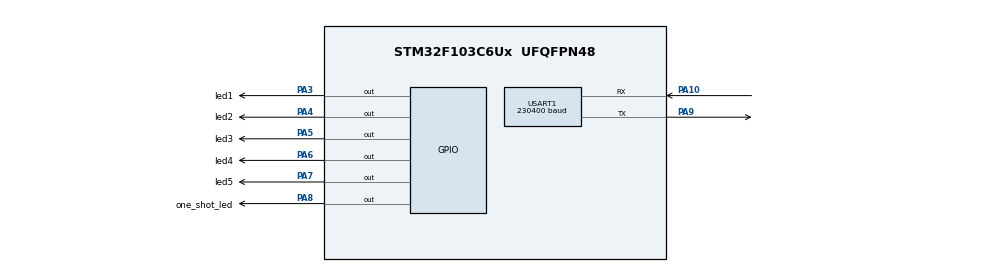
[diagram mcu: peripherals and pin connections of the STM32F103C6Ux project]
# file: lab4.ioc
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Mcu.Family=STM32F1
Mcu.Name=STM32F103C6Ux
Mcu.Package=UFQFPN48
NVIC.PriorityGroup=NVIC_PRIORITYGROUP_4
NVIC.TIM2_IRQn=true\:0\:0\:false\:false\:true\:true\:true
PA10.Mode=Asynchronous
PA10.Signal=USART1_RX
PA3.GPIO_Label=led1
PA3.Signal=GPIO_Output
PA4.GPIO_Label=led2
PA4.Signal=GPIO_Output
PA5.GPIO_Label=led3
PA5.Signal=GPIO_Output
PA6.GPIO_Label=led4
PA6.Signal=GPIO_Output
PA7.GPIO_Label=led5
PA7.Signal=GPIO_Output
PA8.GPIO_Label=one_shot_led
PA8.Signal=GPIO_Output
PA9.Mode=Asynchronous
PA9.Signal=USART1_TX
ProjectManager.HeapSize=0x200
ProjectManager.StackSize=0x400
ProjectManager.TargetToolchain=STM32CubeIDE
RCC.APB1Freq_Value=8000000
RCC.APB2Freq_Value=8000000
TIM2.Period=9
TIM2.Prescaler=7999
USART1.BaudRate=230400
USART1.VirtualMode=VM_ASYNC
VP_SYS_VS_ND.Mode=No_Debug
VP_TIM2_VS_ClockSourceINT.Mode=Internal
board=custom

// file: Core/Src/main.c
/* USER CODE BEGIN Header */
/**
  ******************************************************************************
  * @file           : main.c
  * @brief          : Main program body
  ******************************************************************************
  * @attention
  *
  * <h2><center>&copy; Copyright (c) 2026 STMicroelectronics.
  * All rights reserved.</center></h2>
  *
  * This software component is licensed by ST under BSD 3-Clause license,
  * the "License"; You may not use this file except in compliance with the
  * License. You may obtain a copy of the License at:
  *                        opensource.org/licenses/BSD-3-Clause
  *
  ******************************************************************************
  */
/* USER CODE END Header */
#include "main.h"

/* USER CODE BEGIN Includes */
#include "sched.h"
#include <stdio.h>
/* USER CODE END Includes */

TIM_HandleTypeDef htim2;

UART_HandleTypeDef huart1;

void SystemClock_Config(void);
static void MX_TIM2_Init(void);
static void MX_GPIO_Init(void);
static void MX_USART1_UART_Init(void);

/* USER CODE BEGIN 0 */

//5 periodic LED tasks
void Task_1(){
    HAL_GPIO_TogglePin(GPIOA, led1_Pin);
    printf("Task 1 - Timestamp: %lu ms\r\n", (unsigned long)get_time());
}

void Task_2(){
    HAL_GPIO_TogglePin(GPIOA, led2_Pin);
    printf("Task 2 - Timestamp: %lu ms\r\n", (unsigned long)get_time());
}

void Task_3(){
    HAL_GPIO_TogglePin(GPIOA, led3_Pin);
    printf("Task 3 - Timestamp: %lu ms\r\n", (unsigned long)get_time());
}

void Task_4(){
    HAL_GPIO_TogglePin(GPIOA, led4_Pin);
    printf("Task 4 - Timestamp: %lu ms\r\n", (unsigned long)get_time());
}

void Task_5(){
    HAL_GPIO_TogglePin(GPIOA, led5_Pin);
    printf("Task 5 - Timestamp: %lu ms\r\n", (unsigned long)get_time());
}

void Task_OneShotLed(){
    HAL_GPIO_WritePin(GPIOA, one_shot_led_Pin, GPIO_PIN_RESET);
    printf("Task one shot - Timestamp: %lu ms\r\n", (unsigned long)get_time());
}

void SCH_Go_To_Sleep(){
    __WFI();//sleep until the next interrupt
}
/* USER CODE END 0 */

int main(void)
{

  /* MCU Configuration--------------------------------------------------------*/

  /* Reset of all peripherals, Initializes the Flash interface and the Systick. */
  HAL_Init();

  /* Configure the system clock */
  SystemClock_Config();

  /* Initialize all configured peripherals */
  MX_TIM2_Init();
  MX_GPIO_Init();
  MX_USART1_UART_Init();
  /* USER CODE BEGIN 2 */
  //LEDs are wired to +3.3V (active low): set all pins HIGH so every LED starts off
  HAL_GPIO_WritePin(GPIOA, one_shot_led_Pin, GPIO_PIN_SET);
  HAL_GPIO_WritePin(GPIOA, led1_Pin|led2_Pin|led3_Pin|led4_Pin|led5_Pin, GPIO_PIN_SET);//because it will toggle when the task is added, so toggle of reset is set (off)

  SCH_Init();

  SCH_Add_Task(Task_1, 50, 50);//1s period
  SCH_Add_Task(Task_2, 100, 100);//2
  SCH_Add_Task(Task_3, 150, 150);//3
  SCH_Add_Task(Task_4, 200, 200);//4
  SCH_Add_Task(Task_5, 250, 250);//5

  //one shot LED after 10s
  SCH_Add_Task(Task_OneShotLed, 1000, 0);

  HAL_TIM_Base_Start_IT(&htim2);//start the 10ms tick last
  /* USER CODE END 2 */

  /* Infinite loop */
  /* USER CODE BEGIN WHILE */
  while (1)
  {

	  SCH_Dispatch_Tasks();
	  __WFI();
    /* USER CODE END WHILE */

  }
}

void SystemClock_Config(void)
{
  RCC_OscInitTypeDef RCC_OscInitStruct = {0};
  RCC_ClkInitTypeDef RCC_ClkInitStruct = {0};

  /** Initializes the RCC Oscillators according to the specified parameters
  * in the RCC_OscInitTypeDef structure.
  */
  RCC_OscInitStruct.OscillatorType = RCC_OSCILLATORTYPE_HSI;
  RCC_OscInitStruct.HSIState = RCC_HSI_ON;
  RCC_OscInitStruct.HSICalibrationValue = RCC_HSICALIBRATION_DEFAULT;
  RCC_OscInitStruct.PLL.PLLState = RCC_PLL_NONE;
  if (HAL_RCC_OscConfig(&RCC_OscInitStruct) != HAL_OK)
  {
    Error_Handler();
  }
  /** Initializes the CPU, AHB and APB buses clocks
  */
  RCC_ClkInitStruct.ClockType = RCC_CLOCKTYPE_HCLK|RCC_CLOCKTYPE_SYSCLK
                              |RCC_CLOCKTYPE_PCLK1|RCC_CLOCKTYPE_PCLK2;
  RCC_ClkInitStruct.SYSCLKSource = RCC_SYSCLKSOURCE_HSI;
  RCC_ClkInitStruct.AHBCLKDivider = RCC_SYSCLK_DIV1;
  RCC_ClkInitStruct.APB1CLKDivider = RCC_HCLK_DIV1;
  RCC_ClkInitStruct.APB2CLKDivider = RCC_HCLK_DIV1;

  if (HAL_RCC_ClockConfig(&RCC_ClkInitStruct, FLASH_LATENCY_0) != HAL_OK)
  {
    Error_Handler();
  }
}

static void MX_TIM2_Init(void)
{

  TIM_ClockConfigTypeDef sClockSourceConfig = {0};
  TIM_MasterConfigTypeDef sMasterConfig = {0};

  htim2.Instance = TIM2;
  htim2.Init.Prescaler = 7999;
  htim2.Init.CounterMode = TIM_COUNTERMODE_UP;
  htim2.Init.Period = 9;
  htim2.Init.ClockDivision = TIM_CLOCKDIVISION_DIV1;
  htim2.Init.AutoReloadPreload = TIM_AUTORELOAD_PRELOAD_DISABLE;
  if (HAL_TIM_Base_Init(&htim2) != HAL_OK)
  {
    Error_Handler();
  }
  sClockSourceConfig.ClockSource = TIM_CLOCKSOURCE_INTERNAL;
  if (HAL_TIM_ConfigClockSource(&htim2, &sClockSourceConfig) != HAL_OK)
  {
    Error_Handler();
  }
  sMasterConfig.MasterOutputTrigger = TIM_TRGO_RESET;
  sMasterConfig.MasterSlaveMode = TIM_MASTERSLAVEMODE_DISABLE;
  if (HAL_TIMEx_MasterConfigSynchronization(&htim2, &sMasterConfig) != HAL_OK)
  {
    Error_Handler();
  }

}

static void MX_USART1_UART_Init(void)
{

  huart1.Instance = USART1;
  huart1.Init.BaudRate = 230400;
  huart1.Init.WordLength = UART_WORDLENGTH_8B;
  huart1.Init.StopBits = UART_STOPBITS_1;
  huart1.Init.Parity = UART_PARITY_NONE;
  huart1.Init.Mode = UART_MODE_TX_RX;
  huart1.Init.HwFlowCtl = UART_HWCONTROL_NONE;
  huart1.Init.OverSampling = UART_OVERSAMPLING_16;
  if (HAL_UART_Init(&huart1) != HAL_OK)
  {
    Error_Handler();
  }

}

static void MX_GPIO_Init(void)
{
  GPIO_InitTypeDef GPIO_InitStruct = {0};

  /* GPIO Ports Clock Enable */
  __HAL_RCC_GPIOA_CLK_ENABLE();

  /*Configure GPIO pin Output Level */
  HAL_GPIO_WritePin(GPIOA, led1_Pin|led2_Pin|led3_Pin|led4_Pin
                          |led5_Pin|one_shot_led_Pin, GPIO_PIN_RESET);

  /*Configure GPIO pins : led1_Pin led2_Pin led3_Pin led4_Pin
                           led5_Pin one_shot_led_Pin */
  GPIO_InitStruct.Pin = led1_Pin|led2_Pin|led3_Pin|led4_Pin
                          |led5_Pin|one_shot_led_Pin;
  GPIO_InitStruct.Mode = GPIO_MODE_OUTPUT_PP;
  GPIO_InitStruct.Pull = GPIO_NOPULL;
  GPIO_InitStruct.Speed = GPIO_SPEED_FREQ_LOW;
  HAL_GPIO_Init(GPIOA, &GPIO_InitStruct);

}

/* USER CODE BEGIN 4 */
int _write(int file, char *ptr, int len) {
    HAL_UART_Transmit(&huart1, (uint8_t *)ptr, len, HAL_MAX_DELAY);
    return len;
}

void HAL_TIM_PeriodElapsedCallback(TIM_HandleTypeDef *htim)
{
    if(htim->Instance == TIM2){
    	SCH_Update();
    }
}
/* USER CODE END 4 */

void Error_Handler(void)
{
  __disable_irq();
  while (1)
  {
  }
}

/************************ (C) COPYRIGHT STMicroelectronics *****END OF FILE****/
